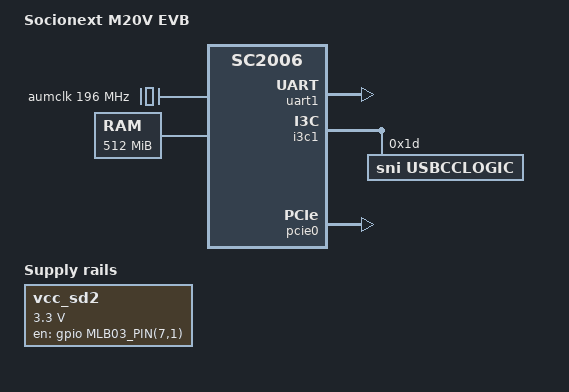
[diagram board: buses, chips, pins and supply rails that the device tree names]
// SPDX-License-Identifier: GPL-2.0
/* Socionext Milbeaut M20V Evaluation Board */
/dts-v1/;
#include "milbeaut-m20v.dtsi"
#include "mlb02-rtos.h"
#include "milbeaut-m20v-gpio.h"

/ {
	model = "Socionext M20V EVB";
	compatible = "socionext,milbeaut-m20v-evb", "socionext,sc2006";

	aliases {
		serial1 = &uart1;
	};

	chosen {
		bootargs = "rdinit=/sbin/finit initrd=0x482010000,INITRAMFS_SIZE rootwait earlycon nr_cpu=1 nokaslr";
		stdout-path = "serial1:115200n8";
		linux,initrd-start = <4 0x82010000>;
		linux,initrd-end =   <4 0x82F10000>;
	};

	cpus {
		cpu@0 {
			status = "disabeld";
		};
		cpu@1 {
			status = "disabeld";
		};
		cpu@2 {
			status = "disabled";
		};
		cpu@3 {
			status = "okay";
		};
	};

	clocks {
		uclk48xi: uclk48xi {
			compatible = "fixed-clock";
			#clock-cells = <0>;
			clock-frequency = <48000000>;
		};

		uclk48xi_div2: uclk48xi_div2 {
			compatible = "fixed-factor-clock";
			#clock-cells = <0>;
			clocks = <&uclk48xi>;
			clock-div = <2>;
			clock-mult = <1>;
		};

		genclk: genclk {
			compatible = "fixed-clock";
			#clock-cells = <0>;
			clock-frequency = <27000000>;
		};

		aumclk: aumclk {
			compatible = "fixed-clock";
			#clock-cells = <0>;
			clock-frequency = <196000000>;
		};
	};

	memory@4,80000000 {
		device_type = "memory";
		reg = <4 0x80000000 0 0x20000000>;
	};

	shared_commem: shared_commem {
		/* To be moved into dtb for co-boot with rtos */
		compatible = "socionext, shared-commem";
		address64;
		buf-addr = <GET_IPCU_BUFFER_ADDRU GET_IPCU_BUFFER_ADDRL>;
		buf-size = <GET_IPCU_BUFFER_SIZEU GET_IPCU_BUFFER_SIZEL>;
		sync-addr = <GET_IPCU_SYNC_ADDRU GET_IPCU_SYNC_ADDRL>;
		sync-size = <GET_IPCU_SYNC_SIZEU GET_IPCU_SYNC_SIZEL>;
		video-addr = <GET_MOVIE_ADDRU GET_MOVIE_ADDRL>;
		video-size = <GET_MOVIE_SIZEU GET_MOVIE_SIZEL>;
		audio-addr = <GET_AUDIO_ADDRU GET_AUDIO_ADDRL>;
		audio-size = <GET_AUDIO_SIZEU GET_AUDIO_SIZEL>;
		status = "disable";
	};

	nor_mem@20000000 {
		compatible = "simple-bus";
		status = "disabled";
		#address-cells = <1>;
		#size-cells = <1>;
		ranges = <0x0 0x0 0x0 0xfffffffe>; // 00000000h - fffffffeh
		flash@20000000 {
			compatible = "cfi-flash";
			#address-cells = <1>;
			#size-cells = <1>;
			reg = <0x20000000 0x10000000>;
			bank-width = <2>;

			partition@0 {
				reg = <0 0x1000000>;
				label = "nor-top";
			};
		};
	};

	vcc_sd1: regulator-vcc-sd1 {
		compatible = "regulator-fixed";
		status = "disabled";

		regulator-name = "SD1_Vcc";
		regulator-min-microvolt = <3300000>;
		regulator-max-microvolt = <3300000>;

		gpio = <&gpio MLB03_PIN(7,0) GPIO_ACTIVE_HIGH>;
		enable-active-high;
		/* enable-at-boot;*/
	};

	vcc_sd2: regulator-vcc-sd2 {
		compatible = "regulator-fixed";

		regulator-name = "SD2_Vcc";
		regulator-min-microvolt = <3300000>;
		regulator-max-microvolt = <3300000>;

		gpio = <&gpio MLB03_PIN(7,1) GPIO_ACTIVE_HIGH>;
		enable-active-high;
		/* enable-at-boot;*/
	};

	sn_ipcufs_rtos: snipcufs_rtos@0 {
		compatible = "socionext,ipcufs-rtos";
		ipcu_unit = <0>; // IPCU Unit
		ipcu_mb = <7 6>;  // Send/Recv Channel
		reg = <GET_IPCU_BUFFER_ADDRU GET_IPCU_BUFFER_ADDRL 0 0x1000>; // IPCU buffer top addr
	};

	soc {
		gic: interrupt-controller@d000000 {
			black-list = <
			  0   1   2   3   4   5                  10  11  12  13  14  15
			 16  17  18                                  27  28  29  30  31
			 32  33  34  35  36  37  38  39  40  41  42  43  44  45  46  47
			 48  49  50  51  52  53  54  55  56  57  58
			                                             75  76  77  78  79
			 80  81  82  83  84  85  86  87  88  89  90
			 96  97  98  99 100 101 102 103 104 105 106 107 108 109 110 111
			112 113 114 115 116 117 118 119 120 121 122 123 124 125 126 127
			128 129 130 131 132 133 134 135 136 137 138 139 140 141 142 143
			144 145 146 147 148 149 150 151 152 153 154 155 156 157 158 159
			160 161 162 163 164 165 166 167 168 169 170 171 172 173 174 175
			176 177 178         181 182 183 184         187 188 189 190 191
			192 193     195 196     198 199 200 201 202 203 204 205 206 207
			208 209 210 211 212 213 214 215 216 217 218 219 220 221 222 223
			224 225 226 227 228 229 230 231 232 233 234 235 236 237 238 239
			240     242 243 244 245 246 247 248 249 250 251 252 253 254 255
			256 257 258 259 260 261 262 263 264 265 266 267 268 269 270 271
			272 273 274 275 276 277 278 279 280 281 282 283 284 285 286 287
			288 289 290 291 292 293 294 295 296 297 298 299 300 301 302 303
			304 305     307 308 309 310 311 312 313 314     316 317 318 319
			320 321 322 323 324 325 326 327 328 329 330 331 332 333 334 335
			336 337 338 339 340 341 342 343 344 345 346 347 348 349 350 351
			352 353 354 355 356 357 358 359 360 361 362 363 364 365 366 367
			368 369 370 371 372 373 374 375 376 377 378 379 380 381 382 383
			384                         391 392 393 394 395 396 397 398 399
			400 401 402 403 404 405 406 407 408 409 410 411 412 413 414 415
			>;
		};

		clk: clk@d152000 {
			compatible = "socionext,milbeaut-m20v-1-ccu";
		};

		exs_32bus {
			sd1: mmc1@19820000 {
				status = "disabled";
				vmmc-supply = <&vcc_sd1>;
			};

			sd2: mmc2@19824000 {
				vmmc-supply = <&vcc_sd2>;
			};

			emmc: emmc@19810000 {
				status = "disabled";
			};
		};

		uart0: usio_uart@e700000 {
			status = "disabled";
		};

		uart1: usio_uart@e700010 {
			status = "okay";
			index = <1>;
		};

		uart2: usio_uart@e700020 {
			status = "disabled";
		};

		uart3: usio_uart@e700030 {
			status = "disabled";
		};

		uart4: usio_uart@e700040 {
			status = "disabled";
		};

		uart5: usio_uart@e700050 {
			status = "disabled";
		};

		uart6: usio_uart@e700060 {
			status = "disabled";
		};

		uart7: usio_uart@e700070 {
			status = "disabled";
		};

		/* To be moved into dtb for co-boot with rtos */
		snrtos_ipcu00: snrtos0@0 {
			status = "okay";
			compatible = "socionext,ipcu-device";
			dst-unit = <0>;
			dst-mb = <0>;
			src-int-ch = <0>;
			dst-int-ch = <8>;
			interrupts = <0 19 4>;
			direction = "recv";
		};

		snrtos_ipcu01: snrtos0@1 {
			status = "okay";
			compatible = "socionext,ipcu-device";
			dst-unit = <0>;
			dst-mb = <1>;
			src-int-ch = <9>;
			dst-int-ch = <1>;
			interrupts = <0 20 4>;
			direction = "send";
		};

		snrtos_ipcu02: snrtos0@2 {
			status = "okay";
			compatible = "socionext,ipcu-device";
			dst-unit = <0>;
			dst-mb = <2>;
			src-int-ch = <2>;
			dst-int-ch = <10>;
			interrupts = <0 21 4>;
			direction = "recv";
		};

		snrtos_ipcu03: snrtos0@3 {
			status = "okay";
			compatible = "socionext,ipcu-device";
			dst-unit = <0>;
			dst-mb = <3>;
			src-int-ch = <11>;
			dst-int-ch = <3>;
			interrupts = <0 22 4>;
			direction = "send";
		};

		snrtos_ipcu04: snrtos0@4 {
			status = "okay";
			compatible = "socionext,ipcu-device";
			dst-unit = <0>;
			dst-mb = <4>;
			src-int-ch = <4>;
			dst-int-ch = <12>;
			interrupts = <0 23 4>;
			direction = "recv";
		};

		snrtos_ipcu05: snrtos0@5 {
			status = "okay";
			compatible = "socionext,ipcu-device";
			dst-unit = <0>;
			dst-mb = <5>;
			src-int-ch = <13>;
			dst-int-ch = <5>;
			interrupts = <0 24 4>;
			direction = "send";
		};

		snrtos_ipcu06: snrtos0@6 {
			status = "okay";
			compatible = "socionext,ipcu-device";
			dst-unit = <0>;
			dst-mb = <6>;
			src-int-ch = <6>;
			dst-int-ch = <14>;
			interrupts = <0 25 4>;
			direction = "recv";
		};

		snrtos_ipcu07: snrtos0@7 {
			status = "okay";
			compatible = "socionext,ipcu-device";
			dst-unit = <0>;
			dst-mb = <7>;
			src-int-ch = <15>;
			dst-int-ch = <7>;
			interrupts = <0 26 4>;
			direction = "send";
		};

		snrtos_ipcu10: snrtos1@0 {
			status = "disabled";
			compatible = "socionext,ipcu-device";
			dst-unit = <1>;
			dst-mb = <0>;
			src-int-ch = <0>;
			dst-int-ch = <8>;
			interrupts = <0 35 4>;
			direction = "recv";
		};

		snrtos_ipcu11: snrtos1@1 {
			status = "disabled";
			compatible = "socionext,ipcu-device";
			dst-unit = <1>;
			dst-mb = <1>;
			src-int-ch = <9>;
			dst-int-ch = <1>;
			interrupts = <0 36 4>;
			direction = "send";
		};

		snrtos_ipcu12: snrtos1@2 {
			status = "disabled";
			compatible = "socionext,ipcu-device";
			dst-unit = <1>;
			dst-mb = <2>;
			src-int-ch = <2>;
			dst-int-ch = <10>;
			interrupts = <0 37 4>;
			direction = "recv";
		};

		snrtos_ipcu13: snrtos1@3 {
			status = "disabled";
			compatible = "socionext,ipcu-device";
			dst-unit = <1>;
			dst-mb = <3>;
			src-int-ch = <11>;
			dst-int-ch = <3>;
			interrupts = <0 38 4>;
			direction = "send";
		};

		snrtos_ipcu14: snrtos1@4 {
			status = "disabled";
			compatible = "socionext,ipcu-device";
			dst-unit = <1>;
			dst-mb = <4>;
			src-int-ch = <4>;
			dst-int-ch = <12>;
			interrupts = <0 39 4>;
			direction = "recv";
		};

		snrtos_ipcu15: snrtos1@5 {
			status = "disabled";
			compatible = "socionext,ipcu-device";
			dst-unit = <1>;
			dst-mb = <5>;
			src-int-ch = <13>;
			dst-int-ch = <5>;
			interrupts = <0 40 4>;
			direction = "send";
		};

		snrtos_ipcu16: snrtos1@6 {
			status = "disabled";
			compatible = "socionext,ipcu-device";
			dst-unit = <1>;
			dst-mb = <6>;
			src-int-ch = <6>;
			dst-int-ch = <14>;
			interrupts = <0 41 4>;
			direction = "recv";
		};

		snrtos_ipcu17: snrtos1@7 {
			status = "disabled";
			compatible = "socionext,ipcu-device";
			dst-unit = <1>;
			dst-mb = <7>;
			src-int-ch = <15>;
			dst-int-ch = <7>;
			interrupts = <0 42 4>;
			direction = "send";
		};

		snrtos_ipcu20: snrtos2@0 {
			status = "disabled";
			compatible = "socionext,ipcu-device";
			dst-unit = <2>;
			dst-mb = <0>;
			src-int-ch = <0>;
			dst-int-ch = <8>;
			interrupts = <0 51 4>;
			direction = "recv";
		};

		snrtos_ipcu21: snrtos2@1 {
			status = "disabled";
			compatible = "socionext,ipcu-device";
			dst-unit = <2>;
			dst-mb = <1>;
			src-int-ch = <9>;
			dst-int-ch = <1>;
			interrupts = <0 52 4>;
			direction = "send";
		};

		snrtos_ipcu22: snrtos2@2 {
			status = "disabled";
			compatible = "socionext,ipcu-device";
			dst-unit = <2>;
			dst-mb = <2>;
			src-int-ch = <2>;
			dst-int-ch = <10>;
			interrupts = <0 53 4>;
			direction = "recv";
		};

		snrtos_ipcu23: snrtos2@3 {
			status = "disabled";
			compatible = "socionext,ipcu-device";
			dst-unit = <2>;
			dst-mb = <3>;
			src-int-ch = <11>;
			dst-int-ch = <3>;
			interrupts = <0 54 4>;
			direction = "send";
		};

		snrtos_ipcu24: snrtos2@4 {
			status = "disabled";
			compatible = "socionext,ipcu-device";
			dst-unit = <2>;
			dst-mb = <4>;
			src-int-ch = <4>;
			dst-int-ch = <12>;
			interrupts = <0 55 4>;
			direction = "recv";
		};

		snrtos_ipcu25: snrtos2@5 {
			status = "disabled";
			compatible = "socionext,ipcu-device";
			dst-unit = <2>;
			dst-mb = <5>;
			src-int-ch = <13>;
			dst-int-ch = <5>;
			interrupts = <0 56 4>;
			direction = "send";
		};

		snrtos_ipcu26: snrtos2@6 {
			status = "disabled";
			compatible = "socionext,ipcu-device";
			dst-unit = <2>;
			dst-mb = <6>;
			src-int-ch = <6>;
			dst-int-ch = <14>;
			interrupts = <0 57 4>;
			direction = "recv";
		};

		snrtos_ipcu27: snrtos2@7 {
			status = "disabled";
			compatible = "socionext,ipcu-device";
			dst-unit = <2>;
			dst-mb = <7>;
			src-int-ch = <15>;
			dst-int-ch = <7>;
			interrupts = <0 58 4>;
			direction = "send";
		};

		updown0: updown@e004000 {
			status = "disabled";
		};
		updown1: updown@e004020 {
			status = "disabled";
		};
		updown2: updown@e004040 {
			status = "disabled";
		};
		updown3: updown@e004060 {
			status = "disabled";
		};
		updown4: updown@e004080 {
			status = "disabled";
		};
		updown5: updown@e0040a0 {
			status = "disabled";
		};
		peri_32bus {
			hdmac0: hdmac@e100000 {
				status = "disabled";
			};
			hdmac1: hdmac@e110000 {
				status = "disabled";
			};
			hdmac2: hdmac@e120000 {
				status = "disabled";
			};
			hdmac3: hdmac@e130000 {
				status = "disabled";
			};
		};
		sni_spi0: spi@f000000 {
			status = "disabled";
		};
		sni_spi1: spi@f001000 {
			status = "disabled";
		};
		sni_spi2: spi@f002000 {
			status = "disabled";
		};
		i2c0: i2c@e005000 {
			status = "disabled";
		};
		i2c1: i2c@e005400 {
			status = "disabled";
		};
		i2c2: i2c@e005800 {
			status = "disabled";
		};
		i3c0: i3c-master@e007000 {
			status = "disabled";
		};
		i3c1: i3c-master@dff7400 {
			status = "okay";

			usbcclogic: usbcclogic@1d {
				compatible = "sni,usbcclogic";
				reg = <0x1d 0 0>;
			};
		};

		watchdog@c86c000 {
			status = "disabled";
		};
		gpiopmc: pinctrl@dffb000 {
			status = "disabled";
		};
		pcie0: pcie@1b000000 {
			status = "okay";
			prsnt2-gpios = <&gpio MLB03_PIN(D,5) 0>;	/* 0x305 */
		};
		pcie1: pcie@1b400000 {
			status = "disabled";
		};
		misc_top: misc_top@d150000 {
			status = "disabled";
		};
		noc: noc@14c0a000 {
			status = "disabled";
		};
		timer64_0: timer64_0@e001000 {
			status = "disabled";
		};
		timer64_1: timer64_1@e001400 {
			status = "disabled";
		};
		timer64_2: timer64_2@e001800 {
			status = "disabled";
		};
		exstop_int: exsint@1ba01010 {
			status = "disabled";
		};
		dsp_32bus {
			dsp_ipcu_2: dsp_ipcu_2 {
				status = "disabled";
			};
			dsp_ipcu_3: dsp_ipcu_3 {
				status = "disabled";
			};
		};
	};

	gpio-leds {
		compatible = "gpio-leds";

		led10 {
			status = "disabled";
			label = "led14";
			gpios = <&gpio MLB03_PIN(6,D) GPIO_ACTIVE_HIGH>;
			linux,default-trigger = "off";
		};
	};
};
